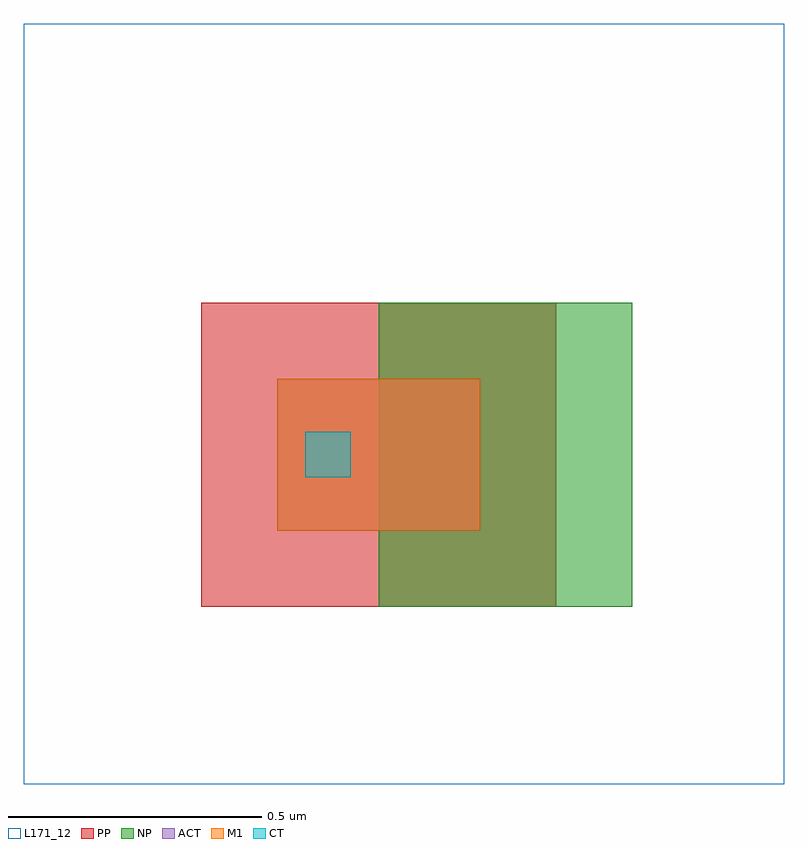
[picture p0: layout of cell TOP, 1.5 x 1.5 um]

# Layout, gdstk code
import gdstk
lib = gdstk.Library(unit=1e-6, precision=1e-09)
def R(c, l, rs):  # rectangles x0, y0, x1, y1
    for r in rs: c.add(gdstk.rectangle(r[:2], r[2:], *l))
ACT = (2, 1)
NP = (52, 1)
PP = (53, 1)
CT = (72, 1)
M1 = (81, 1)
L171_12 = (171, 12)

top = lib.new_cell('TOP')
R(top, ACT, [(0,0,0.4,0.3)])
R(top, NP, [(0.2,-0.15,0.7,0.45)])
R(top, PP, [(-0.15,-0.15,0.55,0.45)])
R(top, CT, [(0.055,0.105,0.145,0.195)])
R(top, M1, [(0,0,0.4,0.3)])
R(top, L171_12, [(-0.5,-0.5,1,1)])

lib.write_gds('TOP.gds')
